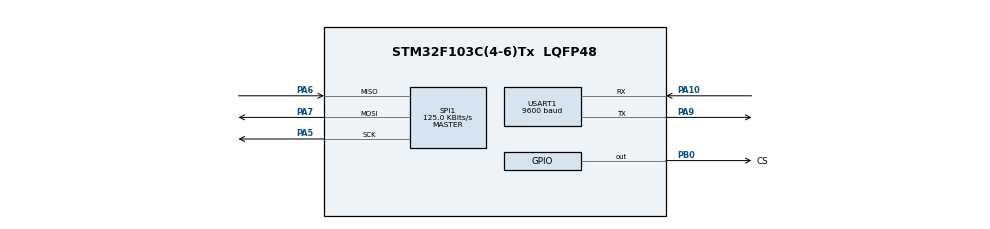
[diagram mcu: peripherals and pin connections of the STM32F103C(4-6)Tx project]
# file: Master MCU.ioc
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Mcu.Family=STM32F1
Mcu.Name=STM32F103C(4-6)Tx
Mcu.Package=LQFP48
NVIC.PriorityGroup=NVIC_PRIORITYGROUP_4
PA10.Mode=Asynchronous
PA10.Signal=USART1_RX
PA5.Mode=Full_Duplex_Master
PA5.Signal=SPI1_SCK
PA6.Mode=Full_Duplex_Master
PA6.Signal=SPI1_MISO
PA7.Mode=Full_Duplex_Master
PA7.Signal=SPI1_MOSI
PA9.Mode=Asynchronous
PA9.Signal=USART1_TX
PB0.GPIO_Label=CS
PB0.GPIO_PuPd=GPIO_PULLUP
PB0.PinState=GPIO_PIN_SET
PB0.Signal=GPIO_Output
ProjectManager.HeapSize=0x200
ProjectManager.StackSize=0x400
ProjectManager.TargetToolchain=STM32CubeIDE
RCC.APB1Freq_Value=8000000
RCC.APB2Freq_Value=8000000
SPI1.BaudRatePrescaler=SPI_BAUDRATEPRESCALER_64
SPI1.CalculateBaudRate=125.0 KBits/s
SPI1.Direction=SPI_DIRECTION_2LINES
SPI1.Mode=SPI_MODE_MASTER
SPI1.VirtualType=VM_MASTER
USART1.BaudRate=9600
USART1.VirtualMode=VM_ASYNC
VP_SYS_VS_ND.Mode=No_Debug
board=custom

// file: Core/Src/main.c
/* USER CODE BEGIN Header */
/**
  ******************************************************************************
  * @file           : main.c
  * @brief          : Main program body
  ******************************************************************************
  * @attention
  *
  * Copyright (c) 2025 STMicroelectronics.
  * All rights reserved.
  *
  * This software is licensed under terms that can be found in the LICENSE file
  * in the root directory of this software component.
  * If no LICENSE file comes with this software, it is provided AS-IS.
  *
  ******************************************************************************
  */
/* USER CODE END Header */
#include "main.h"

/* USER CODE BEGIN Includes */
#include <stdio.h>
#include <string.h>
#include <math.h>
/* USER CODE END Includes */

SPI_HandleTypeDef hspi1;

UART_HandleTypeDef huart1;

/* USER CODE BEGIN PV */

// UART variables
uint8_t UART_received_data[1];
char UART_message[100];

// SPI variables
uint8_t SPI_Sent_data[8];
uint8_t SPI_Junk[8];

// Encoded readings
uint16_t analog_temp;
uint8_t analog_throttle;
uint16_t Voltage_Level;
uint16_t Wheel_Speed;

// Final readings
float final_temp;
float final_throttle_percent;
float final_voltage_level;
int final_wheel_speed;
uint8_t Encoded_Readings[8];

// Final message
char Decoded_message[200];
/* USER CODE END PV */

void SystemClock_Config(void);
static void MX_GPIO_Init(void);
static void MX_SPI1_Init(void);
static void MX_USART1_UART_Init(void);

int main(void)
{

  /* MCU Configuration--------------------------------------------------------*/

  /* Reset of all peripherals, Initializes the Flash interface and the Systick. */
  HAL_Init();

  /* Configure the system clock */
  SystemClock_Config();

  /* Initialize all configured peripherals */
  MX_GPIO_Init();
  MX_SPI1_Init();
  MX_USART1_UART_Init();

  /* Infinite loop */
  /* USER CODE BEGIN WHILE */
  while (1)
  {
	  // receiving the input from the virtual terminal
	  // #Page: 556 Chapter 38 HAL UART Generic Driver
	  HAL_UART_Receive(&huart1, UART_received_data, 1, HAL_MAX_DELAY);
	  // Input Validation
	  if(UART_received_data[0] < '1' || UART_received_data[0] > '5') {
		  	snprintf(UART_message, sizeof(UART_message), "Please enter a valid input for the ID between 1-5 \r\n");
	  		// #Page: 556 Chapter 38 HAL UART Generic Driver
	  		HAL_UART_Transmit(&huart1, (uint8_t*) UART_message, strlen(UART_message), 100);
	  		continue;
	  		}
	  	else {
	  		// encoding the input
	  		int value = UART_received_data[0] - '0';
	  		memset(SPI_Sent_data, 0, sizeof(SPI_Sent_data));
	  		memset(SPI_Junk, 0, sizeof(SPI_Junk));
	  		SPI_Sent_data[0] = 0x10;
	  		SPI_Sent_data[1] = value;
	  		// First SPI to send the input to first slave
	  		// #Page: 50 Chapter 6 HAL System Driver
	  		HAL_Delay(1);
	  		// #Page: 227 Chapter 20 HAL GPIO Generic Driver
	  		HAL_GPIO_WritePin(GPIOB, GPIO_PIN_0, GPIO_PIN_RESET);
	  		// #Page: 452 Chapter 35 HAL SPI Generic Driver
	  		HAL_SPI_TransmitReceive(&hspi1, SPI_Sent_data, SPI_Junk, 8, 10);
	  		// #Page: 227 Chapter 20 HAL GPIO Generic Driver
	  		HAL_GPIO_WritePin(GPIOB, GPIO_PIN_0, GPIO_PIN_SET);
	  		// second SPI to transfer data from first to second slave
	  		// #Page: 50 Chapter 6 HAL System Driver
	  		HAL_Delay(10);
	  		memset(SPI_Sent_data, 0, sizeof(SPI_Sent_data));
	  		memset(SPI_Junk, 0, sizeof(SPI_Junk));
	  		// #Page: 227 Chapter 20 HAL GPIO Generic Driver
	  		HAL_GPIO_WritePin(GPIOB, GPIO_PIN_0, GPIO_PIN_RESET);
	  		// #Page: 452 Chapter 35 HAL SPI Generic Driver
	  		HAL_SPI_TransmitReceive(&hspi1, SPI_Junk, SPI_Sent_data, 8, 10);
	  		// #Page: 227 Chapter 20 HAL GPIO Generic Driver
	  		HAL_GPIO_WritePin(GPIOB, GPIO_PIN_0, GPIO_PIN_SET);
	  		// Third SPI to receive the full encoded data from the second slave
	  		// #Page: 50 Chapter 6 HAL System Driver
	  		HAL_Delay(10);
	  		memset(SPI_Sent_data, 0, sizeof(SPI_Sent_data));
	  		memset(SPI_Junk, 0, sizeof(SPI_Junk));
	  		memset(Encoded_Readings, 0, sizeof(Encoded_Readings));
	  		// #Page: 227 Chapter 20 HAL GPIO Generic Driver
	  		HAL_GPIO_WritePin(GPIOB, GPIO_PIN_0, GPIO_PIN_RESET);
	  		// #Page: 452 Chapter 35 HAL SPI Generic Driver
	  		HAL_SPI_TransmitReceive(&hspi1, SPI_Junk, Encoded_Readings, 8, 10);
	  		// #Page: 227 Chapter 20 HAL GPIO Generic Driver
	  		HAL_GPIO_WritePin(GPIOB, GPIO_PIN_0, GPIO_PIN_SET);
	  		// data decoding
	  		analog_temp = (Encoded_Readings[2] << 4) | (Encoded_Readings[3] >> 4);
	  		analog_throttle = ((Encoded_Readings[3] & 0x0F) << 4) | (Encoded_Readings[4] >> 4);
	  		Voltage_Level = ((Encoded_Readings[4] & 0x0F) << 8) | Encoded_Readings[5];
	  		Wheel_Speed = (Encoded_Readings[6] << 4) | (Encoded_Readings[7] >> 4);
	  		final_temp = ((float)analog_temp / 4095.0) * 150.6;
	  		final_throttle_percent = (1.0 - ((float)analog_throttle / 255.0)) * 100.0;
	  		final_voltage_level = ((float)Voltage_Level / 4095.0) * 24.0;
	  		final_wheel_speed = (int)round((Wheel_Speed / 4095.0) * 300);
	  		// formulating the message and sending to Virtual terminal for display
	  		snprintf(Decoded_message, sizeof(Decoded_message), "Case ID: %d Engine Temperature = %.1f °C | Throttle position = %.1f%% \r\n| Voltage Level: %.1f V | Wheel Speed: %d KM/h\r\n", value, final_temp, final_throttle_percent, final_voltage_level, final_wheel_speed);
	  		// #Page: 556 Chapter 38 HAL UART Generic Driver
	  		HAL_UART_Transmit(&huart1, (uint8_t*) Decoded_message, strlen(Decoded_message), 200);
	  	}
    /* USER CODE END WHILE */

  }
}

void SystemClock_Config(void)
{
  RCC_OscInitTypeDef RCC_OscInitStruct = {0};
  RCC_ClkInitTypeDef RCC_ClkInitStruct = {0};

  /** Initializes the RCC Oscillators according to the specified parameters
  * in the RCC_OscInitTypeDef structure.
  */
  RCC_OscInitStruct.OscillatorType = RCC_OSCILLATORTYPE_HSI;
  RCC_OscInitStruct.HSIState = RCC_HSI_ON;
  RCC_OscInitStruct.HSICalibrationValue = RCC_HSICALIBRATION_DEFAULT;
  RCC_OscInitStruct.PLL.PLLState = RCC_PLL_NONE;
  if (HAL_RCC_OscConfig(&RCC_OscInitStruct) != HAL_OK)
  {
    Error_Handler();
  }

  /** Initializes the CPU, AHB and APB buses clocks
  */
  RCC_ClkInitStruct.ClockType = RCC_CLOCKTYPE_HCLK|RCC_CLOCKTYPE_SYSCLK
                              |RCC_CLOCKTYPE_PCLK1|RCC_CLOCKTYPE_PCLK2;
  RCC_ClkInitStruct.SYSCLKSource = RCC_SYSCLKSOURCE_HSI;
  RCC_ClkInitStruct.AHBCLKDivider = RCC_SYSCLK_DIV1;
  RCC_ClkInitStruct.APB1CLKDivider = RCC_HCLK_DIV1;
  RCC_ClkInitStruct.APB2CLKDivider = RCC_HCLK_DIV1;

  if (HAL_RCC_ClockConfig(&RCC_ClkInitStruct, FLASH_LATENCY_0) != HAL_OK)
  {
    Error_Handler();
  }
}

static void MX_SPI1_Init(void)
{

  /* SPI1 parameter configuration*/
  hspi1.Instance = SPI1;
  hspi1.Init.Mode = SPI_MODE_MASTER;
  hspi1.Init.Direction = SPI_DIRECTION_2LINES;
  hspi1.Init.DataSize = SPI_DATASIZE_8BIT;
  hspi1.Init.CLKPolarity = SPI_POLARITY_LOW;
  hspi1.Init.CLKPhase = SPI_PHASE_1EDGE;
  hspi1.Init.NSS = SPI_NSS_SOFT;
  hspi1.Init.BaudRatePrescaler = SPI_BAUDRATEPRESCALER_64;
  hspi1.Init.FirstBit = SPI_FIRSTBIT_MSB;
  hspi1.Init.TIMode = SPI_TIMODE_DISABLE;
  hspi1.Init.CRCCalculation = SPI_CRCCALCULATION_DISABLE;
  hspi1.Init.CRCPolynomial = 10;
  if (HAL_SPI_Init(&hspi1) != HAL_OK)
  {
    Error_Handler();
  }

}

static void MX_USART1_UART_Init(void)
{

  huart1.Instance = USART1;
  huart1.Init.BaudRate = 9600;
  huart1.Init.WordLength = UART_WORDLENGTH_8B;
  huart1.Init.StopBits = UART_STOPBITS_1;
  huart1.Init.Parity = UART_PARITY_NONE;
  huart1.Init.Mode = UART_MODE_TX_RX;
  huart1.Init.HwFlowCtl = UART_HWCONTROL_NONE;
  huart1.Init.OverSampling = UART_OVERSAMPLING_16;
  if (HAL_UART_Init(&huart1) != HAL_OK)
  {
    Error_Handler();
  }

}

static void MX_GPIO_Init(void)
{
  GPIO_InitTypeDef GPIO_InitStruct = {0};

  /* GPIO Ports Clock Enable */
  __HAL_RCC_GPIOA_CLK_ENABLE();
  __HAL_RCC_GPIOB_CLK_ENABLE();

  /*Configure GPIO pin Output Level */
  HAL_GPIO_WritePin(CS_GPIO_Port, CS_Pin, GPIO_PIN_SET);

  /*Configure GPIO pin : CS_Pin */
  GPIO_InitStruct.Pin = CS_Pin;
  GPIO_InitStruct.Mode = GPIO_MODE_OUTPUT_PP;
  GPIO_InitStruct.Pull = GPIO_PULLUP;
  GPIO_InitStruct.Speed = GPIO_SPEED_FREQ_LOW;
  HAL_GPIO_Init(CS_GPIO_Port, &GPIO_InitStruct);

}

void Error_Handler(void)
{
  __disable_irq();
  while (1)
  {
  }
}
